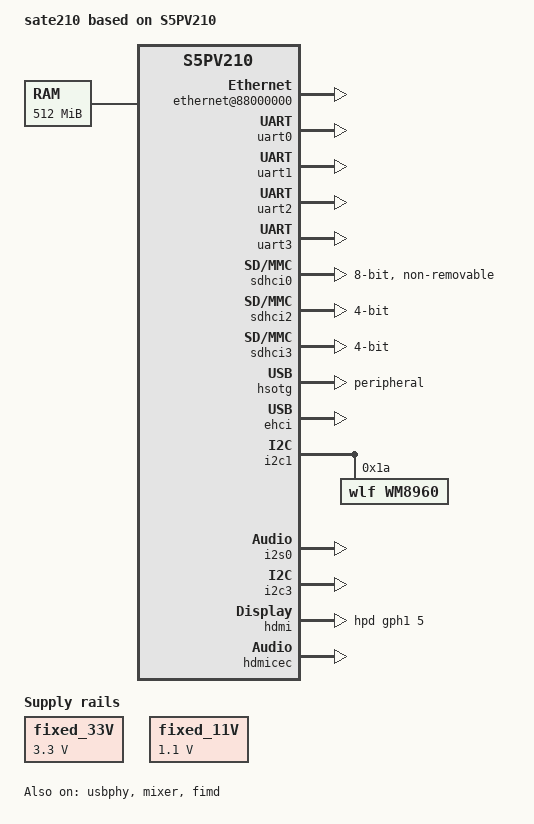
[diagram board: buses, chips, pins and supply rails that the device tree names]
// SPDX-License-Identifier: GPL-2.0

/dts-v1/;
#include <dt-bindings/interrupt-controller/irq.h>
#include <dt-bindings/gpio/gpio.h>
#include "210.dtsi"

/ {
	model = "sate210 based on S5PV210";
	compatible = "samsung,s5pv210";

	chosen {
		bootargs = "console=ttySAC3 noinitrd root=/dev/mmcblk0p1 rootfstype=squashfs rootwait init=/linuxrc ignore_loglevel earlyprintk";
	};

	memory@20000000 {
		device_type = "memory";
		reg = <0x20000000 0x10000000
			   0x40000000 0x10000000>;
	};

	reserved-memory {
		#address-cells = <1>;
		#size-cells = <1>;
		ranges;

		linux,cma {
			compatible = "shared-dma-pool";
			reusable;
			size = <0x4000000>;
			linux,cma-default;
		};
	};

	210_misc {
		compatible = "210,misc";
	};

	ethernet@88000000 {
		compatible = "davicom,dm9000";
		reg = <0x88000000 0x2 0x88000008 0x2>;
		interrupt-parent = <&gph0>;
		interrupts = <0 IRQ_TYPE_LEVEL_HIGH>;
		local-mac-address = [00 00 de ad be ef];
		davicom,no-eeprom;
		pinctrl-names = "default";
		pinctrl-0 = <&xm0_csn1 &xm0_oen &xm0_wen &xm0_addr2 &xm0_data>;
		assigned-clocks = <&clocks CLK_SROMC>;
		assigned-clock-rates = <0>;
	};

	sound {
		compatible = "samsung,smdk-wm8960";
		clocks = <&clocks FOUT_EPLL>;
		clock-names = "fout_epll";
		samsung,audio-codec = <&wm8960>, <&hdmi>;
		samsung,i2s-controller = <&i2s0>;
		samsung,model = "s5pv210-wm8960";
	};

	fixed_33V: fixed_regulator@0 {
		compatible = "regulator-fixed";
		regulator-name = "fixed-3.3V";
		regulator-min-microvolt = <3300000>;
		regulator-max-microvolt = <3300000>;
		regulator-always-on;
	};

	fixed_11V: fixed_regulator@1 {
		compatible = "regulator-fixed";
		regulator-name = "fixed-1.1V";
		regulator-min-microvolt = <1100000>;
		regulator-max-microvolt = <1100000>;
		regulator-always-on;
	};
};

&xusbxti {
	clock-frequency = <24000000>;
};

&uart0 {
	pinctrl-0 = <&uart0_data>;
	pinctrl-names = "default";
	status = "okay";
};

&uart1 {
	pinctrl-0 = <&uart1_data>;
	pinctrl-names = "default";
	status = "okay";
};

&uart2 {
	pinctrl-0 = <&uart2_data>;
	pinctrl-names = "default";
	status = "okay";
};

&uart3 {
	pinctrl-0 = <&uart3_data>;
	pinctrl-names = "default";
	status = "okay";
};

&sdhci0 {
	bus-width = <8>;
	non-removable;
	pinctrl-0 = <&sd0_clk &sd0_cmd &sd0_cd &sd0_bus4 &sd0_bus8>;
	pinctrl-names = "default";
	status = "okay";

	assigned-clocks = <&clocks MOUT_MMC0>, <&clocks MOUT_MMC1>;
	assigned-clock-parents = <&clocks MOUT_MPLL>, <&clocks MOUT_MPLL>;
};

&sdhci2 {
	bus-width = <4>;
	pinctrl-0 = <&sd2_clk &sd2_cmd &sd2_cd &sd2_bus4>;
	pinctrl-names = "default";
	status = "okay";

	assigned-clocks = <&clocks MOUT_MMC2>;
	assigned-clock-parents = <&clocks MOUT_MPLL>;
};

&sdhci3 {
	bus-width = <4>;
	pinctrl-0 = <&sd3_clk &sd3_cmd &sd3_cd &sd3_bus4>;
	pinctrl-names = "default";
	status = "okay";

	assigned-clocks = <&clocks MOUT_MMC3>;
	assigned-clock-parents = <&clocks MOUT_MPLL>;
};

&hsotg {
	dr_mode = "peripheral";
	//total_fifo_size=7808
	g-rx-fifo-size = <2048>;
	g-np-tx-fifo-size = <256>;
	g-tx-fifo-size = <256 256 256 256 256 256 256 256 
					  256 256 256 256 256 256 256>;
	status = "okay";
};

&usbphy {
	status = "okay";
};

&ehci {
	status = "okay";
};

&i2c1 {
	samsung,i2c-sda-delay = <100>;
	samsung,i2c-max-bus-freq = <100000>;
	samsung,i2c-slave-addr = <0x10>;
	status = "okay";

	wm8960: wm8960@1a {
		compatible = "wlf,wm8960";
		reg = <0x1a>;
		wlf,shared-lrclk;
		wlf,gpio-cfg = <1 0>;
		wlf,hp-cfg = <0 0 0>;
	};
};

&clk_audss {
	assigned-clocks = <&clk_audss CLK_MOUT_AUDSS>;
	assigned-clock-parents = <&clocks FOUT_EPLL>;
};

&i2s0 {
	#clock-cells = <1>;
	status = "okay";
};

&i2c3 {
	samsung,i2c-sda-delay = <100>;
	samsung,i2c-max-bus-freq = <100000>;
	samsung,i2c-slave-addr = <0x10>;
	status = "okay";
};

&hdmi {
	hpd-gpios = <&gph1 5 GPIO_ACTIVE_HIGH>;
	pinctrl-names = "default";
	pinctrl-0 = <&hdmi_hpd>;
	vdd-supply = <&fixed_11V>;
	vdd_osc-supply = <&fixed_33V>;
	vdd_pll-supply = <&fixed_11V>;
	ddc = <&i2c1>;
	status = "okay";

	assigned-clocks = <&clocks CLK_HDMI>, <&clocks SCLK_HDMI>;
	assigned-clock-rates = <0>, <0>;
};

&hdmicec {
	pinctrl-names = "default";
	pinctrl-0 = <&hdmi_cec>;
	status = "okay";

	assigned-clocks = <&clocks CLK_HDMI>;
	assigned-clock-rates = <0>;
};

&mixer {
	status = "okay";

	assigned-clocks = <&clocks CLK_MIXER>, <&clocks CLK_HDMI>,
					<&clocks CLK_VP>, <&clocks SCLK_MIXER>;
	assigned-clock-rates = <0>, <0>,
					<0>, <0>;
};

&fimd {
	pinctrl-0 = <&lcd_clk &lcd_data24>;
	pinctrl-names = "default";
	status = "okay";
	
	/* The maximum frequency of VCLK is 100Mhz(pad:50pf). */
	assigned-clocks = <&clocks MOUT_FIMD>,
					<&clocks FOUT_VPLL>,
					<&clocks SCLK_FIMD>, <&clocks CLK_FIMD>;
	assigned-clock-parents = <&clocks MOUT_VPLL>;
	assigned-clock-rates = <0>, 
					<74250000>,
					<0>, <0>;

	display-timings {
		native-mode = <&timing0>;
		
		/* timing0: timing {
			clock-frequency = <40000000>;
			hactive = <800>;
			vactive = <600>;
			hfront-porch = <40>;
			hsync-len = <128>;
			hback-porch = <88>;
			vfront-porch = <1>;
			vsync-len = <4>;
			vback-porch = <23>;
			hsync-active = <0>;
			vsync-active = <0>;
		}; */
		
		/* timing0: timing {
			clock-frequency = <65000000>;
			hactive = <1024>;
			vactive = <768>;
			hfront-porch = <24>;
			hsync-len = <136>;
			hback-porch = <160>;
			vfront-porch = <3>;
			vsync-len = <6>;
			vback-porch = <29>;
			hsync-active = <1>;
			vsync-active = <1>;
		}; */
		
		timing0: timing {
			clock-frequency = <74250000>;
			hactive = <1280>;
			vactive = <720>;
			hfront-porch = <110>;
			hsync-len = <40>;
			hback-porch = <220>;
			vfront-porch = <5>;
			vsync-len = <5>;
			vback-porch = <20>;
			hsync-active = <0>;
			vsync-active = <0>;
		};
		
		/* timing0: timing {
			clock-frequency = <108000000>;
			hactive = <1280>;
			vactive = <1024>;
			hfront-porch = <48>;
			hsync-len = <112>;
			hback-porch = <248>;
			vfront-porch = <1>;
			vsync-len = <3>;
			vback-porch = <38>;
			hsync-active = <0>;
			vsync-active = <0>;
		}; */
		
		/* timing0: timing {
			clock-frequency = <106500000>;
			hactive = <1440>;
			vactive = <900>;
			hfront-porch = <80>;
			hsync-len = <152>;
			hback-porch = <232>;
			vfront-porch = <3>;
			vsync-len = <6>;
			vback-porch = <25>;
			hsync-active = <1>;
			vsync-active = <0>;
		}; */
		
		/* timing0: timing {
			clock-frequency = <148500000>;
			hactive = <1920>;
			vactive = <1080>;
			hfront-porch = <88>;
			hsync-len = <44>;
			hback-porch = <148>;
			vfront-porch = <4>;
			vsync-len = <5>;
			vback-porch = <36>;
			hsync-active = <0>;
			vsync-active = <0>;
		}; */
	};
};
